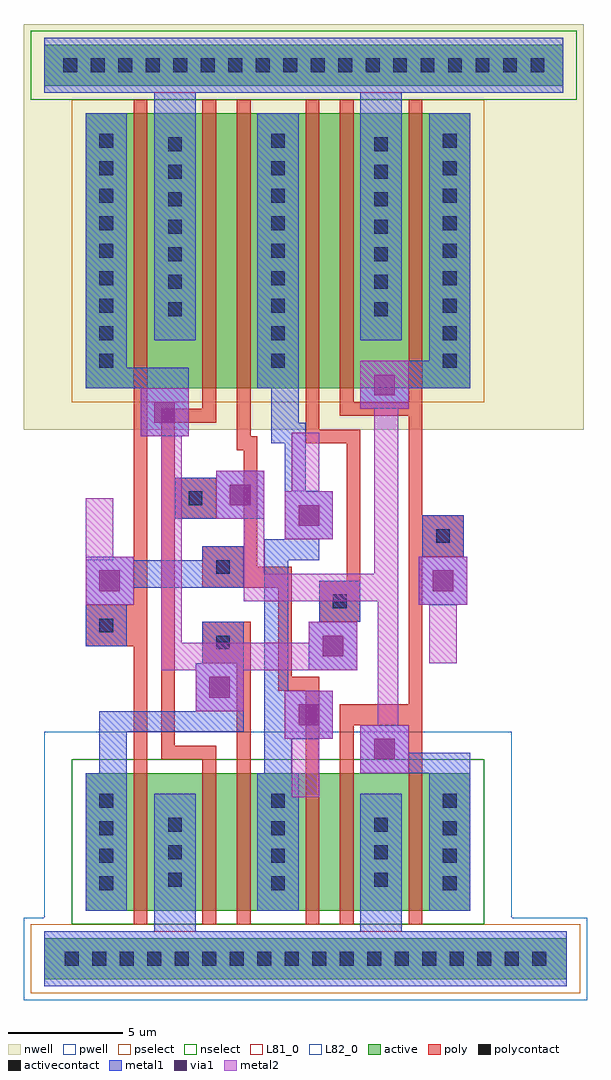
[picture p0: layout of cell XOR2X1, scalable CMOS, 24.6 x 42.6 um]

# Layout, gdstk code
import gdstk
lib = gdstk.Library(unit=1e-6, precision=1e-09)
def R(c, l, rs):  # rectangles x0, y0, x1, y1
    for r in rs: c.add(gdstk.rectangle(r[:2], r[2:], *l))
def A(c, l, x, y, w, h, nx, ny, dx, dy):  # array of equal rectangles
    R(c, l, [(x+i*dx, y+j*dy, x+i*dx+w, y+j*dy+h) for i in range(nx) for j in range(ny)])
pwell = (41, 0)
nwell = (42, 0)
active = (43, 0)
pselect = (44, 0)
nselect = (45, 0)
poly = (46, 0)
polycontact = (47, 0)
activecontact = (48, 0)
metal1 = (49, 0)
via1 = (50, 0)
metal2 = (51, 0)
L81_0 = (81, 0)
L82_0 = (82, 0)

xor2x1 = lib.new_cell('XOR2X1')
R(xor2x1, pwell, [(-1.8,-1.8,22.8,1.8), (-0.9,1.8,19.5,9.9)])
R(xor2x1, nwell, [(-1.8,23.1,22.65,40.8)])
R(xor2x1, active, [(-0.9,-0.9,21.9,0.9), (0.9,2.1,17.7,8.1), (0.9,24.9,17.7,36.9), (-0.9,38.1,21.75,39.9)])
R(xor2x1, pselect, [(-1.5,-1.5,22.5,1.5), (0.3,24.3,18.3,37.5)])
R(xor2x1, nselect, [(0.3,1.5,18.3,8.7), (-1.5,37.5,22.35,40.5)])
R(xor2x1, poly, [(3,1.5,3.6,13.65), (6,1.5,6.6,8.7), (7.5,1.5,8.1,12.9), (10.5,1.5,11.1,11.7), (12,1.5,12.6,10.2), (15,1.5,15.6,10.2), (4.2,8.7,6.6,9.3), (4.2,9.3,4.8,19.2), (12,10.2,15.6,11.1), (15,11.1,15.6,17.55), (9.3,11.7,11.1,12.3), (9.3,12.3,9.9,16.2), (6,12.9,8.1,14.7), (0.9,13.65,3.6,15.45), (11.1,14.7,12.9,16.5), (3,15.45,3.6,37.5), (6,16.2,9.9,17.1), (12.3,16.5,12.9,22.5), (6,17.1,8.4,18), (15,17.55,17.4,19.35), (7.8,18,8.4,22.2), (4.2,19.2,6.6,21), (15,19.35,15.6,23.7), (4.2,21,4.8,23.4), (7.5,22.2,8.4,22.8), (10.5,22.5,12.9,23.1), (7.5,22.8,8.1,37.5), (10.5,23.1,11.1,37.5), (4.2,23.4,6.6,24), (12,23.7,15.6,24.3), (6,24,6.6,37.5), (12,24.3,12.6,37.5), (15,24.3,15.6,37.5)])
R(xor2x1, polycontact, [(6.6,13.5,7.2,14.1), (1.5,14.25,2.1,14.85), (11.7,15.3,12.3,15.9), (6.6,16.8,7.2,17.4), (16.2,18.15,16.8,18.75), (5.4,19.8,6,20.4)])
A(xor2x1, activecontact, 0, -0.3, 0.6, 0.6, 18, 1, 1.2, 0)
A(xor2x1, activecontact, 1.5, 3, 0.6, 0.6, 3, 4, 7.5, 1.2)
A(xor2x1, activecontact, 4.5, 3.15, 0.6, 0.6, 1, 3, 0, 1.2)
A(xor2x1, activecontact, 13.5, 3.15, 0.6, 0.6, 1, 3, 0, 1.2)
A(xor2x1, activecontact, 1.5, 25.8, 0.6, 0.6, 3, 9, 7.5, 1.2)
A(xor2x1, activecontact, 4.5, 28.05, 0.6, 0.6, 1, 7, 0, 1.2)
A(xor2x1, activecontact, 13.5, 28.05, 0.6, 0.6, 1, 7, 0, 1.2)
A(xor2x1, activecontact, -0.07, 38.7, 0.6, 0.6, 18, 1, 1.2, 0)
A(xor2x1, metal1, 0.9, 2.1, 1.8, 6, 3, 1, 7.5, 0)
R(xor2x1, metal1, [(-0.9,-1.2,21.9,1.2), (3.9,1.2,5.7,7.2), (12.9,1.2,14.7,7.2), (1.5,8.1,2.7,9.9), (8.7,8.1,9.9,9.6), (12.9,8.1,17.7,9), (12.9,9,15,10.2), (8.7,9.6,11.7,11.7), (1.5,9.9,7.8,10.8), (5.7,10.8,7.8,12.9), (8.7,11.7,9.75,17.4), (10.65,12.6,12.75,14.7), (6,12.9,7.8,14.7), (0.9,13.65,2.7,15.45), (11.1,14.7,12.9,16.5), (0.9,15.45,3,16.2), (15.45,15.45,17.55,17.55), (0.9,16.2,7.8,17.4), (0.9,17.4,3,17.55), (6,17.4,7.8,18), (8.7,17.4,11.1,18.3), (15.6,17.55,17.4,19.35), (9.6,18.3,11.7,20.4), (4.8,19.2,8.7,21), (9.6,20.4,10.5,22.5), (6.6,21,8.7,21.3), (9,22.5,10.5,23.4), (3.3,22.8,5.4,24.9), (9,23.4,10.2,24.9), (12.9,24,15,24.9), (0.9,24.9,5.4,25.8), (8.4,24.9,10.2,36.9), (12.9,24.9,17.7,26.1), (0.9,25.8,2.7,36.9), (15.9,26.1,17.7,36.9), (3.9,27,5.7,37.8), (12.9,27,14.7,37.8), (-0.9,37.8,21.75,40.2)])
R(xor2x1, via1, [(13.5,8.7,14.4,9.6), (10.2,10.2,11.1,11.1), (6.3,11.4,7.2,12.3), (11.25,13.2,12.15,14.1), (1.5,16.05,2.4,16.95), (16.05,16.05,16.95,16.95), (10.2,18.9,11.1,19.8), (7.2,19.8,8.1,20.7), (3.9,23.4,4.8,24.3), (13.5,24.6,14.4,25.5)])
R(xor2x1, metal2, [(9.9,7.05,11.1,9.6), (12.9,8.1,15,10.2), (9.6,9.6,11.7,11.7), (13.65,10.2,14.55,15.6), (5.7,10.8,7.8,12.6), (4.2,12.6,12.75,13.8), (15.9,12.9,17.1,15.45), (4.2,13.8,5.1,22.8), (10.65,13.8,12.75,14.7), (0.9,15.45,3,17.55), (15.45,15.45,17.55,17.55), (7.8,15.6,14.55,16.8), (7.8,16.8,8.7,19.2), (13.5,16.8,14.55,24), (0.9,17.55,2.1,20.1), (9.6,18.3,11.7,20.4), (6.6,19.2,8.7,21.3), (9.9,20.4,11.1,22.95), (3.3,22.8,5.4,24.9), (12.9,24,15,26.1)])
R(xor2x1, L81_0, [(-0.9,-1.2,21.9,1.2), (-0.9,37.8,21.75,40.2)])
R(xor2x1, L82_0, [(9.9,7.05,11.1,9.6), (15.9,12.9,17.1,15.45), (0.9,17.4,2.1,20.1), (9.9,20.4,11.1,22.95)])

lib.write_gds('XOR2X1.gds')
